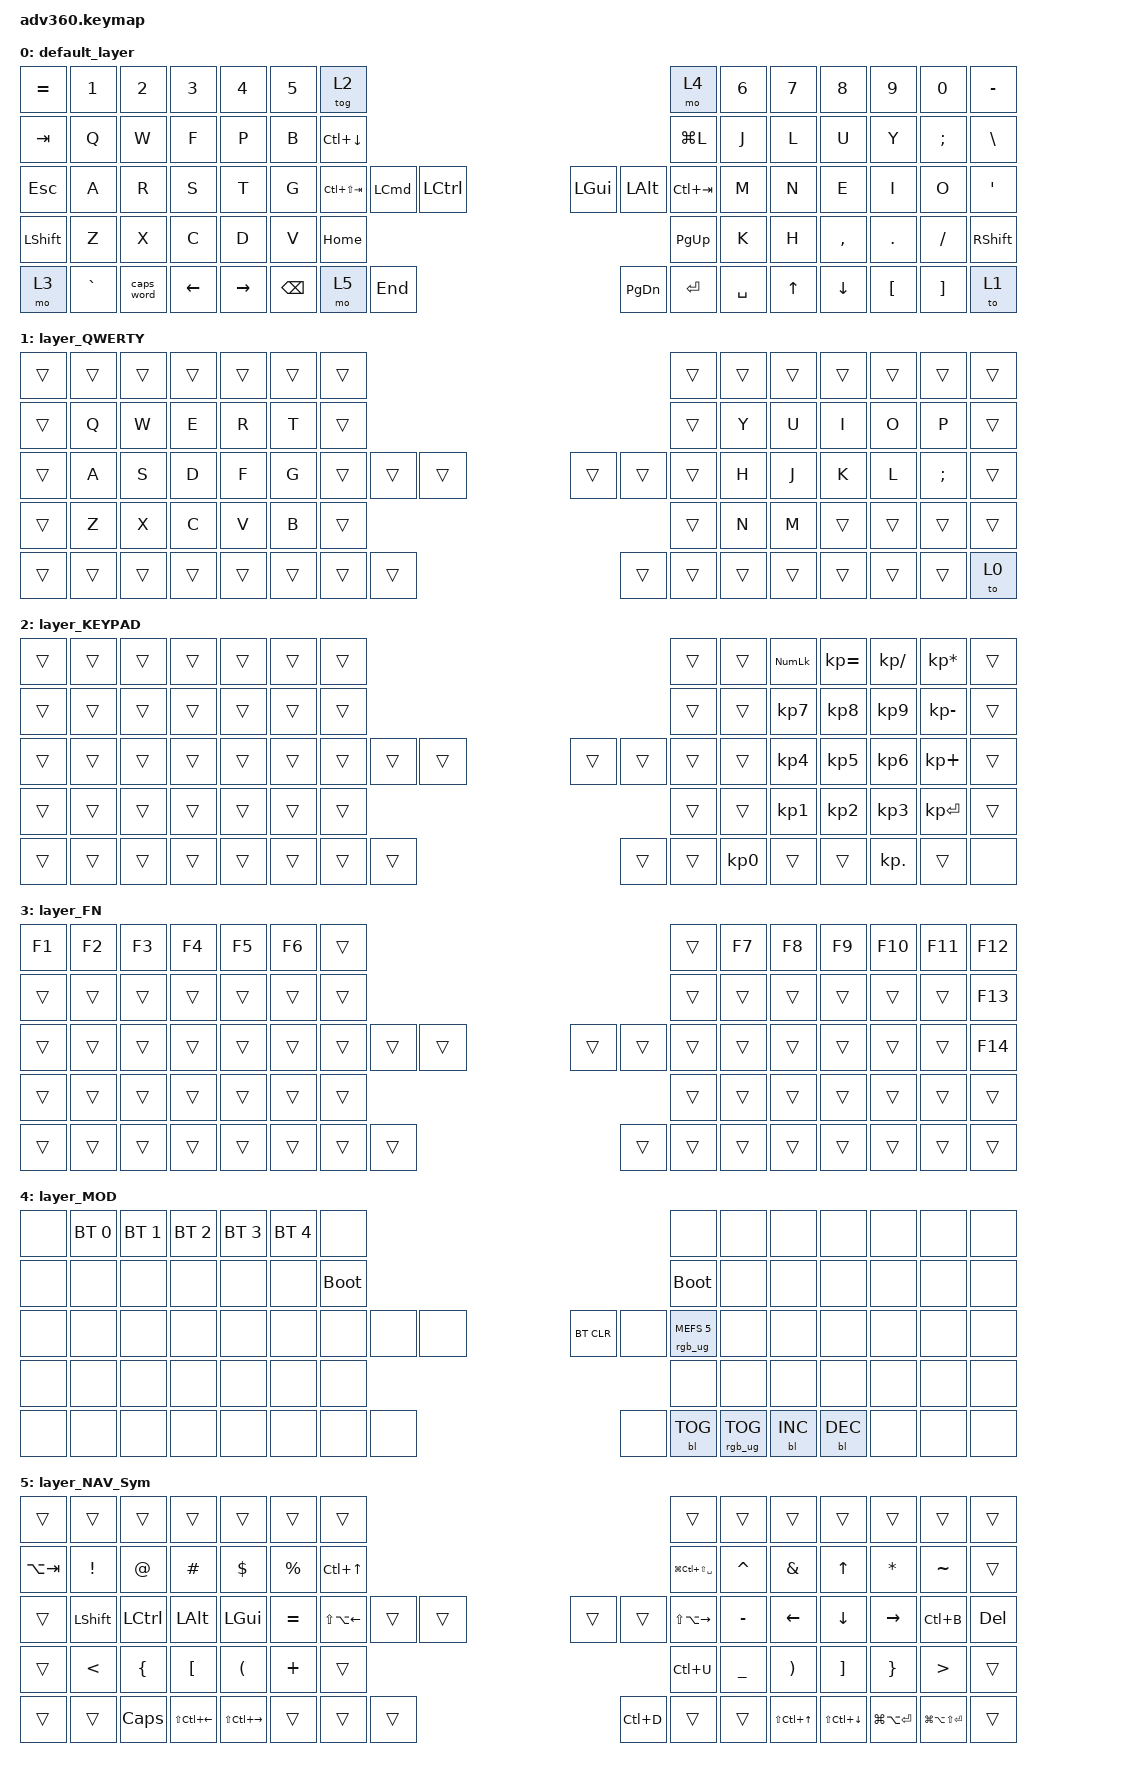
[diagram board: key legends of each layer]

/*
 * Copyright (c) 2020 The ZMK Contributors
 *
 * SPDX-License-Identifier: MIT
 */


/* THIS FILE WAS GENERATED!
 *
 * This file was generated automatically. You may or may not want to
 * edit it directly.
 */

#include <behaviors.dtsi>
#include <dt-bindings/zmk/keys.h>
#include <dt-bindings/zmk/bt.h>
#include <dt-bindings/zmk/rgb.h>
#include <dt-bindings/zmk/backlight.h>

/ {
  behaviors {
    #include "macros.dtsi"
    #include "version.dtsi"

    hm: homerow_mods {
        compatible = "zmk,behavior-hold-tap";
        label = "HOMEROW_MODS";
        #binding-cells = <2>;
        tapping-term-ms = <200>;
        quick_tap_ms = <175>;
        flavor = "tap-preferred";
        bindings = <&kp>, <&kp>;
    };
  };

    keymap {
        compatible = "zmk,keymap";


        default_layer {
            bindings = <
 &kp EQUAL     &kp N1      &kp N2    &kp N3     &kp N4  &kp N5                     &tog 2                                                                           &mo 4  &kp N6  &kp N7     &kp N8    &kp N9             &kp N0  &kp MINUS
   &kp TAB      &kp Q       &kp W     &kp F      &kp P   &kp B               &kp LC(DOWN)                                                                       &kp LG(L)   &kp J   &kp L      &kp U     &kp Y      &kp SEMICOLON   &kp BSLH
   &kp ESC      &kp A       &kp R     &kp S      &kp T   &kp G            &kp LC(LS(TAB))  &kp LEFT_COMMAND  &kp LCTRL                   &kp LGUI   &kp LALT  &kp LC(TAB)   &kp M   &kp N      &kp E     &kp I              &kp O    &kp SQT
 &kp LSHFT      &kp Z       &kp X     &kp C      &kp D   &kp V                                                &kp HOME                  &kp PG_UP                           &kp K   &kp H  &kp COMMA   &kp DOT           &kp FSLH  &kp RSHFT
     &mo 3  &kp GRAVE  &caps_word  &kp LEFT  &kp RIGHT                           &kp BSPC             &mo 5    &kp END                  &kp PG_DN  &kp ENTER    &kp SPACE          &kp UP   &kp DOWN  &kp LBKT  &kp RIGHT_BRACKET      &to 1
            >;
        };

        layer_QWERTY {
            bindings = <
 &trans  &trans  &trans  &trans  &trans  &trans            &trans                                                  &trans  &trans  &trans  &trans  &trans    &trans  &trans
 &trans   &kp Q   &kp W   &kp E   &kp R   &kp T            &trans                                                  &trans   &kp Y   &kp U   &kp I   &kp O     &kp P  &trans
 &trans   &kp A   &kp S   &kp D   &kp F   &kp G            &trans  &trans  &trans                  &trans  &trans  &trans   &kp H   &kp J   &kp K   &kp L  &kp SEMI  &trans
 &trans   &kp Z   &kp X   &kp C   &kp V   &kp B                            &trans                  &trans                   &kp N   &kp M  &trans  &trans    &trans  &trans
 &trans  &trans  &trans  &trans  &trans                    &trans  &trans  &trans                  &trans  &trans  &trans          &trans  &trans  &trans    &trans   &to 0
            >;
        };

        layer_KEYPAD {
            bindings = <
 &trans  &trans  &trans  &trans  &trans  &trans            &trans                                                     &trans  &trans  &kp KP_NUM  &kp KP_EQUAL  &kp KP_SLASH  &kp KP_MULTIPLY  &trans
 &trans  &trans  &trans  &trans  &trans  &trans            &trans                                                     &trans  &trans   &kp KP_N7     &kp KP_N8     &kp KP_N9     &kp KP_MINUS  &trans
 &trans  &trans  &trans  &trans  &trans  &trans            &trans  &trans  &trans                  &trans  &trans     &trans  &trans   &kp KP_N4     &kp KP_N5     &kp KP_N6      &kp KP_PLUS  &trans
 &trans  &trans  &trans  &trans  &trans  &trans                            &trans                  &trans                     &trans   &kp KP_N1     &kp KP_N2     &kp KP_N3     &kp KP_ENTER  &trans
 &trans  &trans  &trans  &trans  &trans                    &trans  &trans  &trans                  &trans  &trans  &kp KP_N0              &trans        &trans    &kp KP_DOT           &trans   &none
            >;
        };

        layer_FN {
            bindings = <
 &kp F1  &kp F2  &kp F3  &kp F4  &kp F5  &kp F6            &trans                                                  &trans  &kp F7  &kp F8  &kp F9  &kp F10  &kp F11  &kp F12
 &trans  &trans  &trans  &trans  &trans  &trans            &trans                                                  &trans  &trans  &trans  &trans   &trans   &trans  &kp F13
 &trans  &trans  &trans  &trans  &trans  &trans            &trans  &trans  &trans                  &trans  &trans  &trans  &trans  &trans  &trans   &trans   &trans  &kp F14
 &trans  &trans  &trans  &trans  &trans  &trans                            &trans                  &trans                  &trans  &trans  &trans   &trans   &trans   &trans
 &trans  &trans  &trans  &trans  &trans                    &trans  &trans  &trans                  &trans  &trans  &trans          &trans  &trans   &trans   &trans   &trans
            >;
        };

        layer_MOD {
            bindings = <
  &none  &bt BT_SEL 0  &bt BT_SEL 1  &bt BT_SEL 2  &bt BT_SEL 3  &bt BT_SEL 4                  &none                                                                           &none   &none       &none       &none   &none   &none   &none
  &none         &none         &none         &none         &none         &none            &bootloader                                                                     &bootloader   &none       &none       &none   &none   &none   &none
  &none         &none         &none         &none         &none         &none                  &none   &none   &none                  &bt BT_CLR       &none  &rgb_ug RGB_MEFS_CMD 5   &none       &none       &none   &none   &none   &none
  &none         &none         &none         &none         &none         &none                                  &none                       &none                                       &none       &none       &none   &none   &none   &none
  &none         &none         &none         &none         &none                                &none   &none   &none                       &none  &bl BL_TOG         &rgb_ug RGB_TOG          &bl BL_INC  &bl BL_DEC   &none   &none   &none
            >;
        };

        layer_NAV_Sym {
            bindings = <
      &trans          &trans          &trans            &trans                &trans     &trans                      &trans                                                                    &trans     &trans                 &trans             &trans             &trans                 &trans      &trans
 &kp LA(TAB)        &kp EXCL          &kp AT          &kp HASH              &kp DLLR  &kp PRCNT                  &kp LC(UP)                                                     &kp LG(LC(LS(SPACE)))  &kp CARET               &kp AMPS             &kp UP           &kp STAR              &kp TILDE      &trans
      &trans  &kp LEFT_SHIFT       &kp LCTRL          &kp LALT              &kp LGUI  &kp EQUAL            &kp LS(LA(LEFT))  &trans  &trans                     &trans  &trans      &kp LS(LA(RIGHT))  &kp MINUS               &kp LEFT           &kp DOWN          &kp RIGHT              &kp LC(B)  &kp DELETE
      &trans          &kp LT  &kp LEFT_BRACE  &kp LEFT_BRACKET  &kp LEFT_PARENTHESIS   &kp PLUS                                      &trans                  &kp LC(U)                                 &kp UNDER  &kp RIGHT_PARENTHESIS  &kp RIGHT_BRACKET    &kp RIGHT_BRACE       &kp GREATER_THAN      &trans
      &trans          &trans    &kp CAPSLOCK  &kp LS(LC(LEFT))     &kp LS(LC(RIGHT))                                 &trans  &trans  &trans                  &kp LC(D)  &trans                 &trans                    &kp LS(LC(UP))   &kp LS(LC(DOWN))  &kp LG(LA(ENTER))  &kp LG(LA(LS(ENTER)))      &trans
            >;
        };

    };
};
